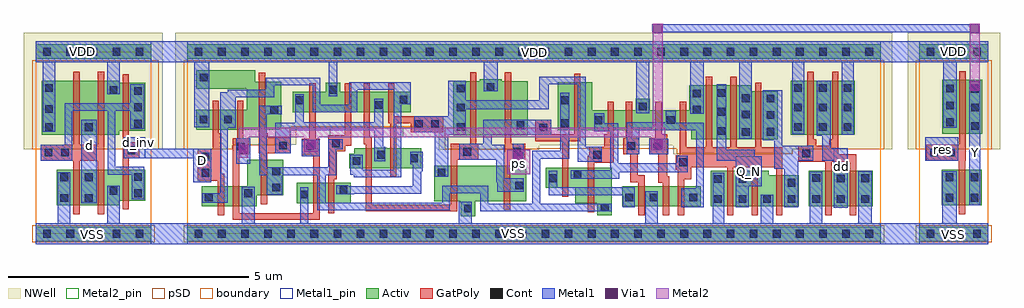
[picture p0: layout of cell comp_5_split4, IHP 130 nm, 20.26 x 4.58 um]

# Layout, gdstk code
import gdstk
lib = gdstk.Library(unit=1e-6, precision=1e-09)
def R(c, l, rs):  # rectangles x0, y0, x1, y1
    for r in rs: c.add(gdstk.rectangle(r[:2], r[2:], *l))
def A(c, l, x, y, w, h, nx, ny, dx, dy):  # array of equal rectangles
    R(c, l, [(x+i*dx, y+j*dy, x+i*dx+w, y+j*dy+h) for i in range(nx) for j in range(ny)])
def P(c, l, *ps):  # polygons
    for p in ps: c.add(gdstk.Polygon(p, *l))
Activ = (1, 0)
GatPoly = (5, 0)
Cont = (6, 0)
Metal1 = (8, 0)
Metal1_pin = (8, 2)
Metal2 = (10, 0)
Metal2_pin = (10, 2)
pSD = (14, 0)
Via1 = (19, 0)
NWell = (31, 0)
boundary = (189, 4)

comp_5_split4 = lib.new_cell('comp_5_split4')
R(comp_5_split4, Activ, [(-9.521,-1.471,-7.121,-1.171), (-6.376,-1.471,8.024,-1.171), (8.82,-1.471,10.26,-1.171), (2.654,-0.751,4.284,-0.331), (6.534,-0.751,7.854,-0.011), (9.295,-0.731,10.125,0.009), (-4.096,-0.686,-2.976,-0.266), (6.159,0.739,7.484,1.859), (9.305,0.754,10.135,1.874), (-9.521,2.309,-7.121,2.609), (-6.376,2.309,8.024,2.609), (8.82,2.309,10.26,2.609)])
P(comp_5_split4, Activ, [(-9.391,0.739),(-9.391,1.859),(-7.786,1.859),(-7.786,1.814),(-7.246,1.814),(-7.246,0.814),(-7.786,0.814),(-7.786,0.739)],
  [(-9.076,-0.731),(-9.076,0.009),(-7.246,0.009),(-7.246,-0.631),(-7.786,-0.631),(-7.786,-0.731)],
  [(4.494,-0.751),(4.494,-0.011),(5.704,-0.011),(5.704,-0.111),(6.324,-0.111),(6.324,-0.751)],
  [(4.094,0.639),(4.094,0.824),(1.319,0.824),(1.319,1.824),(2.039,1.824),(2.039,1.244),(2.934,1.244),(2.934,1.479),(3.234,1.479),(3.234,1.244),(4.054,1.244),(4.054,1.759),(5.339,1.759),(5.339,1.639),(5.884,1.639),(5.884,0.639)],
  [(2.144,-0.931),(2.144,-0.686),(1.684,-0.686),(1.684,-0.366),(1.069,-0.366),(1.069,0.054),(2.444,0.054),(2.444,-0.931)],
  [(-0.846,0.729),(-0.846,1.849),(-0.301,1.849),(-0.301,1.884),(0.154,1.884),(0.154,1.849),(0.694,1.849),(0.694,0.729)],
  [(-0.696,-0.956),(-0.696,-0.646),(-1.241,-0.646),(-1.241,0.094),(0.669,0.094),(0.669,-0.646),(-0.396,-0.646),(-0.396,-0.956)],
  [(-3.011,0.039),(-3.011,0.339),(-2.901,0.339),(-2.901,0.459),(-2.471,0.459),(-2.471,0.469),(-2.231,0.469),(-2.231,0.459),(-1.516,0.459),(-1.516,0.039)],
  [(-4.186,1.204),(-4.186,1.624),(-3.496,1.624),(-3.496,1.819),(-3.196,1.819),(-3.196,1.624),(-1.731,1.624),(-1.731,1.204)],
  [(-6.076,-0.751),(-6.076,-0.331),(-5.131,-0.331),(-5.131,0.214),(-4.376,0.214),(-4.376,-0.526),(-4.931,-0.526),(-4.931,-0.751)],
  [(-6.186,0.839),(-6.186,1.259),(-5.136,1.259),(-5.136,1.689),(-6.186,1.689),(-6.186,2.074),(-4.961,2.074),(-4.961,1.839),(-4.416,1.839),(-4.416,0.839)])
P(comp_5_split4, GatPoly, [(-7.716,-0.811),(-7.716,1.994),(-7.586,1.994),(-7.586,0.579),(-7.366,0.579),(-7.366,0.249),(-7.586,0.249),(-7.586,-0.811)],
  [(-8.736,-0.911),(-8.736,0.199),(-9.416,0.199),(-9.416,0.529),(-8.736,0.529),(-8.736,2.039),(-8.606,2.039),(-8.606,0.529),(-8.226,0.529),(-8.226,2.039),(-8.096,2.039),(-8.096,-0.911),(-8.226,-0.911),(-8.226,0.199),(-8.606,0.199),(-8.606,-0.911)],
  [(6.874,-0.931),(6.874,0.179),(6.314,0.179),(6.314,0.509),(6.499,0.509),(6.499,2.039),(6.629,2.039),(6.629,0.644),(6.684,0.644),(6.684,0.509),(6.954,0.509),(6.954,0.644),(7.014,0.644),(7.014,2.039),(7.144,2.039),(7.144,0.329),(7.514,0.329),(7.514,-0.931),(7.384,-0.931),(7.384,0.179),(7.004,0.179),(7.004,-0.931)],
  [(3.814,-0.931),(3.814,0.009),(3.774,0.009),(3.774,0.314),(3.854,0.314),(3.854,1.424),(3.984,1.424),(3.984,0.479),(4.394,0.479),(4.394,1.939),(4.524,1.939),(4.524,0.479),(4.904,0.479),(4.904,1.939),(5.034,1.939),(5.034,0.479),(5.414,0.479),(5.414,1.819),(5.544,1.819),(5.544,0.479),(5.984,0.479),(5.984,-0.931),(5.854,-0.931),(5.854,0.064),(5.474,0.064),(5.474,-0.931),(5.344,-0.931),(5.344,0.064),(4.964,0.064),(4.964,-0.931),(4.834,-0.931),(4.834,0.064),(4.089,0.064),(4.089,-0.186),(3.944,-0.186),(3.944,-0.931)],
  [(3.504,-0.931),(3.504,-0.261),(3.409,-0.261),(3.409,0.329),(3.219,0.329),(3.219,0.659),(3.344,0.659),(3.344,1.424),(3.474,1.424),(3.474,0.749),(3.594,0.749),(3.594,-0.126),(3.634,-0.126),(3.634,-0.931)],
  [(2.994,-0.931),(2.994,-0.256),(2.829,-0.256),(2.829,0.334),(2.679,0.334),(2.679,0.664),(2.734,0.664),(2.734,1.424),(2.864,1.424),(2.864,0.664),(3.009,0.664),(3.009,0.334),(2.979,0.334),(2.979,-0.106),(3.124,-0.106),(3.124,-0.931)],
  [(1.944,-0.876),(1.944,0.304),(1.969,0.304),(1.969,0.484),(2.289,0.484),(2.289,0.749),(2.354,0.749),(2.354,1.424),(2.484,1.424),(2.484,0.154),(2.074,0.154),(2.074,-0.876)],
  [(1.409,-0.556),(1.409,0.599),(0.854,0.599),(0.854,1.049),(1.184,1.049),(1.184,0.749),(1.659,0.749),(1.659,2.004),(1.789,2.004),(1.789,0.599),(1.539,0.599),(1.539,-0.556)],
  [(0.199,-0.826),(0.199,0.369),(0.224,0.369),(0.224,2.029),(0.354,2.029),(0.354,0.549),(0.644,0.549),(0.644,0.219),(0.329,0.219),(0.329,-0.826)],
  [(-2.671,-0.856),(-2.671,0.534),(-2.711,0.534),(-2.711,1.804),(-2.581,1.804),(-2.581,0.684),(-2.541,0.684),(-2.541,-0.716),(-0.901,-0.716),(-0.901,0.549),(-0.501,0.549),(-0.501,2.029),(-0.371,2.029),(-0.371,0.549),(-0.326,0.549),(-0.326,0.219),(-0.771,0.219),(-0.771,-0.856)],
  [(-2.161,-0.141),(-2.161,0.969),(-2.201,0.969),(-2.201,1.804),(-2.071,1.804),(-2.071,1.119),(-1.061,1.119),(-1.061,0.789),(-1.731,0.789),(-1.731,0.969),(-2.031,0.969),(-2.031,-0.141)],
  [(-3.446,-0.896),(-3.446,-0.071),(-3.421,-0.071),(-3.421,0.394),(-3.441,0.394),(-3.441,0.724),(-3.101,0.724),(-3.101,1.804),(-2.971,1.804),(-2.971,0.509),(-3.091,0.509),(-3.091,0.394),(-3.271,0.394),(-3.271,-0.191),(-3.316,-0.191),(-3.316,-0.896)],
  [(-5.426,-1.026),(-5.426,0.659),(-5.336,0.659),(-5.336,1.439),(-5.206,1.439),(-5.206,0.659),(-5.096,0.659),(-5.096,0.329),(-5.296,0.329),(-5.296,-0.891),(-3.756,-0.891),(-3.756,0.324),(-3.991,0.324),(-3.991,0.654),(-3.836,0.654),(-3.836,1.804),(-3.706,1.804),(-3.706,0.654),(-3.626,0.654),(-3.626,-1.026)],
  [(-4.846,-0.706),(-4.846,0.349),(-4.886,0.349),(-4.886,2.019),(-4.756,2.019),(-4.756,0.764),(-4.706,0.764),(-4.706,0.679),(-4.221,0.679),(-4.221,0.349),(-4.716,0.349),(-4.716,-0.706)],
  [(-5.736,-0.931),(-5.736,-0.221),(-6.156,-0.221),(-6.156,0.449),(-5.846,0.449),(-5.846,1.439),(-5.716,1.439),(-5.716,0.764),(-5.666,0.764),(-5.666,-0.071),(-5.606,-0.071),(-5.606,-0.931)],
  [(9.645,-0.911),(9.645,0.199),(8.965,0.199),(8.965,0.529),(9.655,0.529),(9.655,2.054),(9.785,2.054),(9.785,0.199),(9.775,0.199),(9.775,-0.911)])
A(comp_5_split4, Cont, -9.361, -1.401, 0.16, 0.16, 3, 1, 0.48, 0)
A(comp_5_split4, Cont, -6.216, -1.401, 0.16, 0.16, 30, 2, 0.48, 3.78)
A(comp_5_split4, Cont, 4.564, -0.681, 0.16, 0.16, 5, 1, 0.51, 0)
A(comp_5_split4, Cont, 5.654, 0.719, 0.16, 0.16, 1, 3, 0, 0.345)
A(comp_5_split4, Cont, 6.229, 0.814, 0.16, 0.16, 1, 3, 0, 0.405)
A(comp_5_split4, Cont, 6.739, 0.814, 0.16, 0.16, 1, 3, 0, 0.405)
A(comp_5_split4, Cont, 7.254, 0.814, 0.16, 0.16, 1, 3, 0, 0.405)
A(comp_5_split4, Cont, -7.476, 0.884, 0.16, 0.16, 1, 3, 0, 0.34)
A(comp_5_split4, Cont, 9.38, 0.914, 0.16, 0.16, 1, 3, 0, 0.35)
R(comp_5_split4, Cont, [(-9.361,-1.401,-9.201,-1.241), (-8.401,-1.401,-8.241,-1.241), (-7.921,-1.401,-7.761,-1.241), (-7.921,-1.401,-7.761,-1.241), (-7.441,-1.401,-7.281,-1.241), (-7.441,-1.401,-7.281,-1.241), (8.98,-1.401,9.14,-1.241), (8.98,-1.401,9.14,-1.241), (9.46,-1.401,9.62,-1.241), (9.46,-1.401,9.62,-1.241), (9.94,-1.401,10.1,-1.241), (9.94,-1.401,10.1,-1.241), (-0.626,-0.876,-0.466,-0.716), (2.214,-0.856,2.374,-0.696), (7.114,-0.676,7.274,-0.516), (7.624,-0.676,7.784,-0.516), (-9.006,-0.661,-8.846,-0.501), (-8.496,-0.661,-8.336,-0.501), (9.37,-0.651,9.53,-0.491), (9.89,-0.651,10.05,-0.491), (-6.006,-0.646,-5.846,-0.486), (2.724,-0.646,2.884,-0.486), (3.234,-0.646,3.394,-0.486), (4.054,-0.646,4.214,-0.486), (-4.026,-0.586,-3.866,-0.426), (-7.476,-0.561,-7.316,-0.401), (-5.186,-0.561,-5.026,-0.401), (-7.986,-0.506,-7.826,-0.346), (-3.206,-0.496,-3.046,-0.336), (-4.606,-0.441,-4.446,-0.281), (0.439,-0.401,0.599,-0.241), (6.094,-0.341,6.254,-0.181), (4.564,-0.266,4.724,-0.106), (5.074,-0.266,5.234,-0.106), (7.114,-0.251,7.274,-0.091), (1.139,-0.246,1.299,-0.086), (7.624,-0.246,7.784,-0.086), (6.604,-0.241,6.764,-0.081), (-9.006,-0.226,-8.846,-0.066), (-8.496,-0.226,-8.336,-0.066), (9.37,-0.226,9.53,-0.066), (9.89,-0.226,10.05,-0.066), (-7.476,-0.221,-7.316,-0.061), (1.649,-0.176,1.809,-0.016), (-6.071,-0.136,-5.911,0.024), (-1.171,-0.136,-1.011,0.024), (-4.606,-0.101,-4.446,0.059), (3.844,0.084,4.004,0.244), (-2.941,0.109,-2.781,0.269), (-1.746,0.169,-1.586,0.329), (-6.071,0.204,-5.911,0.364), (-2.431,0.239,-2.271,0.399), (2.054,0.239,2.214,0.399), (6.399,0.264,6.559,0.424), (-9.331,0.284,-9.171,0.444), (-8.991,0.284,-8.831,0.444), (9.05,0.284,9.21,0.444), (9.405,0.284,9.565,0.444), (-0.641,0.304,-0.481,0.464), (0.399,0.304,0.559,0.464), (-7.611,0.334,-7.451,0.494), (-3.906,0.409,-3.746,0.569), (-5.341,0.414,-5.181,0.574), (3.304,0.414,3.464,0.574), (2.764,0.419,2.924,0.579), (-4.466,0.434,-4.306,0.594), (-3.366,0.479,-3.206,0.639), (5.144,0.714,5.304,0.874), (4.634,0.734,4.794,0.894), (0.939,0.804,1.099,0.964), (-8.496,0.809,-8.336,0.969), (-9.321,0.814,-9.161,0.974), (-0.776,0.814,-0.616,0.974), (9.9,0.834,10.06,0.994), (0.464,0.854,0.624,1.014), (-1.646,0.874,-1.486,1.034), (-1.306,0.879,-1.146,1.039), (1.389,0.894,1.549,1.054), (2.084,0.954,2.244,1.114), (3.584,0.964,3.744,1.124), (-6.116,0.969,-5.956,1.129), (-5.606,0.974,-5.446,1.134), (5.144,1.074,5.304,1.234), (4.634,1.134,4.794,1.294), (-4.646,1.169,-4.486,1.329), (4.124,1.174,4.284,1.334), (-9.321,1.189,-9.161,1.349), (-0.776,1.219,-0.616,1.379), (9.9,1.219,10.06,1.379), (3.004,1.244,3.164,1.404), (-2.471,1.274,-2.311,1.434), (-4.116,1.369,-3.956,1.529), (1.389,1.369,1.549,1.529), (-1.961,1.384,-1.801,1.544), (5.144,1.414,5.304,1.574), (4.124,1.514,4.284,1.674), (4.634,1.524,4.794,1.684), (-7.986,1.584,-7.826,1.744), (-3.426,1.589,-3.266,1.749), (9.895,1.609,10.055,1.769), (-0.776,1.614,-0.616,1.774), (-9.321,1.624,-9.161,1.784), (-0.156,1.649,0.004,1.809), (-6.111,1.844,-5.951,2.004), (-9.361,2.379,-9.201,2.539), (-9.361,2.379,-9.201,2.539), (-8.881,2.379,-8.721,2.539), (-8.881,2.379,-8.721,2.539), (-8.401,2.379,-8.241,2.539), (-8.401,2.379,-8.241,2.539), (-7.921,2.379,-7.761,2.539), (-7.921,2.379,-7.761,2.539), (-7.441,2.379,-7.281,2.539), (-7.441,2.379,-7.281,2.539), (8.98,2.379,9.14,2.539), (8.98,2.379,9.14,2.539), (9.46,2.379,9.62,2.539), (9.46,2.379,9.62,2.539), (9.94,2.379,10.1,2.539), (9.94,2.379,10.1,2.539)])
R(comp_5_split4, Metal1, [(9.865,-0.726,10.095,1.854), (-8.576,-0.686,-8.246,1.049), (0.384,0.014,0.614,0.549), (-5.351,0.129,-5.061,0.659), (8.945,0.199,9.635,0.679), (-3.991,0.289,-3.621,0.634), (3.219,0.329,3.609,0.649), (3.285,2.864,10.081,3.024)])
P(comp_5_split4, Metal1, [(-9.371,0.799),(-9.371,2.239),(-9.521,2.239),(-9.521,2.679),(-6.362,2.679),(-6.362,2.239),(-7.776,2.239),(-7.776,1.574),(-8.036,1.574),(-8.036,2.239),(-9.111,2.239),(-9.111,0.799)],
  [(5.089,0.654),(5.089,2.239),(4.349,2.239),(4.349,1.174),(4.074,1.174),(4.074,2.239),(3.219,2.239),(3.219,1.184),(2.954,1.184),(2.954,2.239),(0.069,2.239),(0.069,1.634),(-0.216,1.634),(-0.216,2.239),(-3.261,2.239),(-3.261,1.539),(-3.431,1.539),(-3.431,2.239),(-5.916,2.239),(-5.916,0.894),(-6.226,0.894),(-6.226,2.239),(-6.376,2.239),(-6.376,2.679),(8.861,2.679),(8.861,2.239),(7.464,2.239),(7.464,0.739),(7.214,0.739),(7.214,2.239),(6.439,2.239),(6.439,0.749),(6.184,0.749),(6.184,2.239),(5.349,2.239),(5.349,0.654)],
  [(7.964,-1.541),(7.964,-1.101),(9.305,-1.101),(9.305,-0.026),(9.605,-0.026),(9.605,-1.101),(10.26,-1.101),(10.26,-1.541)],
  [(-7.143,-1.541),(-7.143,-1.101),(-5.236,-1.101),(-5.236,-0.346),(-4.966,-0.346),(-4.966,-1.101),(-4.031,-1.101),(-4.031,-0.351),(-3.861,-0.351),(-3.861,-1.101),(-0.741,-1.101),(-0.741,-0.661),(-0.466,-0.661),(-0.466,-1.101),(3.134,-1.101),(3.134,-0.436),(3.394,-0.436),(3.394,-1.101),(4.534,-1.101),(4.534,-0.051),(4.779,-0.051),(4.779,-1.101),(5.534,-1.101),(5.534,-0.511),(5.794,-0.511),(5.794,-1.101),(6.554,-1.101),(6.554,-0.031),(6.814,-0.031),(6.814,-1.101),(7.559,-1.101),(7.559,-0.026),(7.834,-0.026),(7.834,-1.101),(8.024,-1.101),(8.024,-1.541)],
  [(-6.251,-0.251),(-6.251,0.249),(-7.246,0.249),(-7.686,0.249),(-7.686,0.679),(-7.246,0.679),(-7.246,0.449),(-5.876,0.449),(-5.876,-0.251)],
  [(-7.526,-0.601),(-7.526,-0.091),(-8.026,-0.091),(-8.026,1.229),(-8.756,1.229),(-8.756,0.199),(-9.416,0.199),(-9.416,0.529),(-8.916,0.529),(-8.916,1.389),(-7.551,1.389),(-7.551,1.779),(-7.261,1.779),(-7.261,0.859),(-7.551,0.859),(-7.551,1.229),(-7.866,1.229),(-7.866,0.069),(-7.266,0.069),(-7.266,-0.601)],
  [(-9.521,-1.541),(-9.521,-1.101),(-9.056,-1.101),(-9.056,-0.046),(-8.796,-0.046),(-8.796,-1.101),(-8.036,-1.101),(-8.036,-0.326),(-7.776,-0.326),(-7.776,-1.101),(-7.121,-1.101),(-7.121,-1.541)],
  [(7.044,-0.776),(7.044,0.194),(6.814,0.194),(6.814,0.719),(6.694,0.719),(6.694,1.854),(6.984,1.854),(6.984,0.454),(7.344,0.454),(7.344,-0.776)],
  [(6.024,-0.771),(6.024,0.034),(5.814,0.034),(5.814,0.619),(5.574,0.619),(5.574,1.659),(5.984,1.659),(5.984,0.509),(6.624,0.509),(6.624,0.194),(6.309,0.194),(6.309,-0.771)],
  [(5.019,-0.771),(5.019,0.199),(4.624,0.199),(4.624,1.779),(4.814,1.779),(4.814,0.419),(5.404,0.419),(5.404,0.289),(5.554,0.289),(5.554,-0.331),(5.284,-0.331),(5.284,-0.771)],
  [(3.884,-0.771),(3.884,-0.376),(4.194,-0.376),(4.194,0.829),(3.009,0.829),(3.009,0.334),(2.754,0.334),(2.754,0.999),(3.559,0.999),(3.559,1.234),(3.764,1.234),(3.764,0.989),(4.354,0.989),(4.354,-0.771)],
  [(1.584,-0.176),(1.584,-0.006),(2.414,-0.006),(2.414,0.804),(2.079,0.804),(2.079,1.179),(2.284,1.179),(2.284,0.974),(2.574,0.974),(2.574,0.144),(3.789,0.144),(3.789,0.304),(4.014,0.304),(4.014,-0.046),(2.594,-0.046),(2.594,-0.176)],
  [(2.664,-0.771),(2.664,-0.516),(1.134,-0.516),(1.134,-0.011),(1.304,-0.011),(1.304,-0.356),(2.914,-0.356),(2.914,-0.771)],
  [(-0.286,-0.856),(-0.286,-0.481),(-0.921,-0.481),(-0.921,-0.836),(-3.671,-0.836),(-3.671,-0.106),(-4.401,-0.106),(-4.401,-0.506),(-4.721,-0.506),(-4.721,-0.106),(-4.881,-0.106),(-4.881,1.334),(-4.406,1.334),(-4.406,1.164),(-4.721,1.164),(-4.721,0.064),(-3.441,0.064),(-3.441,0.644),(-3.146,0.644),(-3.146,0.434),(-3.281,0.434),(-3.281,-0.106),(-3.501,-0.106),(-3.501,-0.676),(-1.081,-0.676),(-1.081,-0.321),(-0.121,-0.321),(-0.121,-0.696),(0.794,-0.696),(0.794,0.404),(1.369,0.404),(1.369,1.604),(1.559,1.604),(1.559,0.234),(0.954,0.234),(0.954,-0.696),(2.444,-0.696),(2.444,-0.856)],
  [(-1.231,-0.141),(-1.231,0.789),(-1.656,0.789),(-1.656,1.119),(-0.951,1.119),(-0.951,1.859),(-0.591,1.859),(-0.591,1.449),(0.939,1.449),(0.939,1.944),(1.899,1.944),(1.899,0.484),(2.229,0.484),(2.229,0.179),(1.739,0.179),(1.739,1.784),(1.129,1.784),(1.129,1.269),(-0.591,1.269),(-0.591,0.739),(-0.956,0.739),(-0.956,-0.141)],
  [(0.059,-0.451),(0.059,-0.246),(0.044,-0.246),(0.044,0.219),(-0.726,0.219),(-0.726,0.549),(-0.226,0.549),(-0.226,1.049),(1.184,1.049),(1.184,0.734),(-0.056,0.734),(-0.056,0.524),(0.204,0.524),(0.204,-0.166),(0.614,-0.166),(0.614,-0.451)],
  [(-3.281,-0.496),(-3.281,-0.311),(-3.031,-0.311),(-3.031,-0.331),(-1.691,-0.331),(-1.691,0.119),(-1.746,0.119),(-1.746,0.379),(-1.481,0.379),(-1.481,-0.021),(-1.511,-0.021),(-1.511,-0.491),(-2.916,-0.491),(-2.916,-0.496)],
  [(-6.061,-0.676),(-6.061,-0.481),(-5.691,-0.481),(-5.691,1.614),(-5.536,1.614),(-5.536,1.674),(-4.746,1.674),(-4.746,1.919),(-3.611,1.919),(-3.611,1.359),(-3.011,1.359),(-3.011,1.824),(-1.731,1.824),(-1.731,1.364),(-1.926,1.364),(-1.926,-0.151),(-2.911,-0.151),(-2.911,-0.096),(-2.991,-0.096),(-2.991,0.319),(-2.731,0.319),(-2.731,0.009),(-2.086,0.009),(-2.086,1.664),(-2.841,1.664),(-2.841,1.199),(-3.771,1.199),(-3.771,1.759),(-4.561,1.759),(-4.561,1.514),(-5.366,1.514),(-5.366,0.879),(-5.531,0.879),(-5.531,-0.676)],
  [(-2.486,0.189),(-2.486,0.824),(-4.221,0.824),(-4.221,0.349),(-4.541,0.349),(-4.541,0.984),(-4.131,0.984),(-4.131,1.579),(-3.951,1.579),(-3.951,0.994),(-2.486,0.994),(-2.486,1.484),(-2.301,1.484),(-2.301,0.489),(-2.266,0.489),(-2.266,0.189)],
  [(9.325,0.884),(9.325,2.239),(8.82,2.239),(8.82,2.679),(10.26,2.679),(10.26,2.239),(9.6,2.239),(9.6,0.884)])
R(comp_5_split4, Metal1_pin, [(-9.521,-1.541,-7.121,-1.101), (-6.376,-1.541,8.024,-1.101), (8.82,-1.541,10.26,-1.101), (7.044,-0.776,7.344,0.454), (9.865,-0.726,10.095,1.854), (-8.576,-0.686,-8.246,1.049), (5.019,-0.331,5.554,0.289), (-6.251,-0.251,-5.876,0.449), (8.945,0.199,9.635,0.679), (-7.686,0.249,-7.246,0.679), (-9.521,2.239,-7.121,2.679), (-6.376,2.239,8.024,2.679), (8.82,2.239,10.26,2.679)])
R(comp_5_split4, Metal2, [(0.274,-0.081,0.744,0.424), (3.293,0.794,3.498,3.042), (9.874,1.649,10.079,3.038)])
P(comp_5_split4, Metal2, [(-5.301,0.259),(-5.301,0.879),(3.554,0.879),(3.554,0.414),(3.264,0.414),(3.264,0.679),(-3.656,0.679),(-3.656,0.384),(-3.946,0.384),(-3.946,0.679),(-5.101,0.679),(-5.101,0.259)])
R(comp_5_split4, Metal2_pin, [(0.274,-0.081,0.744,0.424), (-3.416,0.679,-1.891,0.879)])
R(comp_5_split4, pSD, [(-9.591,-1.501,-7.051,-1.141), (-6.446,-1.501,8.094,-1.141), (8.75,-1.501,10.33,-1.141), (-9.591,0.439,-6.961,2.279), (8.75,0.439,10.33,2.279)])
P(comp_5_split4, pSD, [(3.794,0.339),(3.794,0.439),(0.869,0.439),(0.869,0.429),(-1.026,0.429),(-1.026,0.904),(-4.236,0.904),(-4.236,0.514),(-5.431,0.514),(-5.431,0.439),(-6.446,0.439),(-6.446,2.279),(8.094,2.279),(8.094,0.439),(6.184,0.439),(6.184,0.339)])
R(comp_5_split4, Via1, [(0.404,0.194,0.594,0.384), (-5.296,0.339,-5.106,0.529), (-3.896,0.434,-3.706,0.624), (3.314,0.449,3.504,0.639), (9.883,1.655,10.073,1.845), (9.877,2.843,10.067,3.033), (3.296,2.847,3.486,3.037)])
R(comp_5_split4, NWell, [(-9.761,0.429,-6.881,2.849), (8.58,0.429,10.5,2.849)])
P(comp_5_split4, NWell, [(3.719,0.329),(3.719,0.514),(0.939,0.514),(0.939,0.419),(-1.156,0.419),(-1.156,0.894),(-4.106,0.894),(-4.106,0.529),(-5.441,0.529),(-5.441,0.429),(-6.616,0.429),(-6.616,2.849),(8.264,2.849),(8.264,0.429),(6.194,0.429),(6.194,0.329)])
R(comp_5_split4, boundary, [(-9.521,-1.321,-7.121,2.459), (-6.376,-1.321,8.024,2.459), (8.82,-1.321,10.26,2.459)])
comp_5_split4.add(gdstk.Label('VSS', (-8.346,-1.326), layer=8, texttype=25))
comp_5_split4.add(gdstk.Label('VDD', (-8.556,2.459), layer=8, texttype=25))
comp_5_split4.add(gdstk.Label('dd', (7.206,0.074), layer=8, texttype=25))
comp_5_split4.add(gdstk.Label('d_inv', (-7.394,0.57), layer=8, texttype=25))
comp_5_split4.add(gdstk.Label('VSS', (0.394,-1.321), layer=8, texttype=25))
comp_5_split4.add(gdstk.Label('Y', (9.99,0.369), layer=8, texttype=25))
comp_5_split4.add(gdstk.Label('res', (9.305,0.439), layer=8, texttype=25))
comp_5_split4.add(gdstk.Label('VSS', (9.54,-1.341), layer=8, texttype=25))
comp_5_split4.add(gdstk.Label('VDD', (9.525,2.459), layer=8, texttype=25))
comp_5_split4.add(gdstk.Label('d', (-8.394,0.521), layer=8, texttype=25))
comp_5_split4.add(gdstk.Label('D', (-6.051,0.209), layer=8, texttype=1))
comp_5_split4.add(gdstk.Label('Q_N', (5.284,-0.026), layer=8, texttype=1))
comp_5_split4.add(gdstk.Label('Q', (7.189,-0.151), layer=8, texttype=1))
comp_5_split4.add(gdstk.Label('VDD', (0.829,2.447), layer=8, texttype=1))
comp_5_split4.add(gdstk.Label('ps', (0.514,0.134), layer=10, texttype=25))

lib.write_gds('comp_5_split4.gds')
